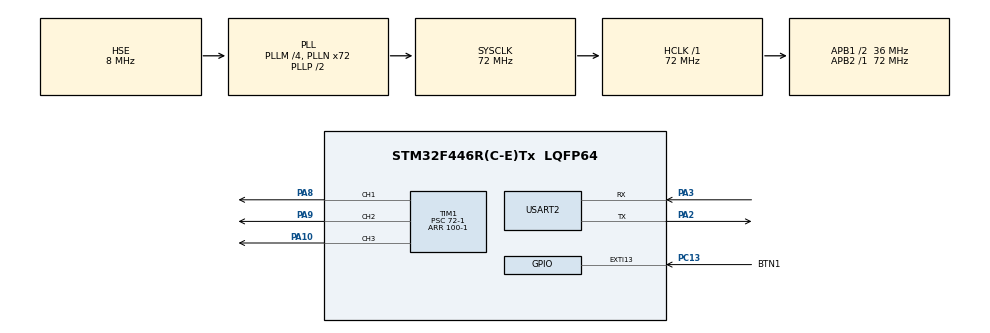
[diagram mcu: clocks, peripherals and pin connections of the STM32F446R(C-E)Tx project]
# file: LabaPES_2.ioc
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Mcu.Family=STM32F4
Mcu.Name=STM32F446R(C-E)Tx
Mcu.Package=LQFP64
NVIC.EXTI15_10_IRQn=true\:0\:0\:false\:false\:true\:true\:true
NVIC.PriorityGroup=NVIC_PRIORITYGROUP_0
NVIC.TIM2_IRQn=true\:0\:0\:false\:false\:true\:true\:true
NVIC.USART2_IRQn=true\:0\:0\:false\:false\:true\:true\:true
PA10.Signal=S_TIM1_CH3
PA2.Mode=Asynchronous
PA2.Signal=USART2_TX
PA3.Mode=Asynchronous
PA3.Signal=USART2_RX
PA8.Signal=S_TIM1_CH1
PA9.Signal=S_TIM1_CH2
PC13.GPIO_Label=BTN1
PC13.GPIO_PuPd=GPIO_PULLDOWN
PC13.Signal=GPXTI13
PH0-OSC_IN.Mode=HSE-External-Oscillator
PH0-OSC_IN.Signal=RCC_OSC_IN
PH1-OSC_OUT.Mode=HSE-External-Oscillator
PH1-OSC_OUT.Signal=RCC_OSC_OUT
ProjectManager.HeapSize=0x200
ProjectManager.StackSize=0x400
ProjectManager.TargetToolchain=STM32CubeIDE
RCC.48MHZClocksFreq_Value=84000000
RCC.AHBFreq_Value=72000000
RCC.APB1CLKDivider=RCC_HCLK_DIV2
RCC.APB1Freq_Value=36000000
RCC.APB1TimFreq_Value=72000000
RCC.APB2Freq_Value=72000000
RCC.APB2TimFreq_Value=72000000
RCC.CortexFreq_Value=72000000
RCC.FLatency-AdvancedSettings=FLASH_LATENCY_2
RCC.HCLKFreq_Value=72000000
RCC.HSE_VALUE=8000000
RCC.HSI_VALUE=16000000
RCC.PLLM=4
RCC.PLLN=72
RCC.PLLSourceVirtual=RCC_PLLSOURCE_HSE
RCC.SYSCLKFreq_VALUE=72000000
RCC.SYSCLKSource=RCC_SYSCLKSOURCE_PLLCLK
RCC.USBFreq_Value=72000000
RCC.VCOOutputFreq_Value=144000000
SH.S_TIM1_CH1.0=TIM1_CH1,PWM Generation1 CH1
SH.S_TIM1_CH2.0=TIM1_CH2,PWM Generation2 CH2
SH.S_TIM1_CH3.0=TIM1_CH3,PWM Generation3 CH3
TIM1.Channel-PWM\ Generation1\ CH1=TIM_CHANNEL_1
TIM1.Channel-PWM\ Generation2\ CH2=TIM_CHANNEL_2
TIM1.Channel-PWM\ Generation3\ CH3=TIM_CHANNEL_3
TIM1.Period=100-1
TIM1.Prescaler=72-1
TIM2.Period=10-1
TIM2.Prescaler=7200-1
USART2.VirtualMode=VM_ASYNC
VP_TIM2_VS_ClockSourceINT.Mode=Internal
board=NUCLEO-F446RE

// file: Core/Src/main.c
/* USER CODE BEGIN Header */
/**
  ******************************************************************************
  * @file           : main.c
  * @brief          : Main program body
  ******************************************************************************
  * @attention
  *
  * <h2><center>&copy; Copyright (c) 2022 STMicroelectronics.
  * All rights reserved.</center></h2>
  *
  * This software component is licensed by ST under BSD 3-Clause license,
  * the "License"; You may not use this file except in compliance with the
  * License. You may obtain a copy of the License at:
  *                        opensource.org/licenses/BSD-3-Clause
  *
  ******************************************************************************
  */
/* USER CODE END Header */
#include "main.h"

/* USER CODE BEGIN Includes */
#include <stdio.h>
#include <string.h>
#include "ring_buffer.h"
#include "Ptimer.h"
/* USER CODE END Includes */

/* USER CODE BEGIN PD */
#define BUFF_SIZE 16
/* USER CODE END PD */

TIM_HandleTypeDef htim1;
TIM_HandleTypeDef htim2;

UART_HandleTypeDef huart2;

/* USER CODE BEGIN PV */
uint8_t flag_err = 0;
uint8_t flag_btn = 0;
char str[3] = {0,};
RING_buffer_t ring;
uint8_t buff[BUFF_SIZE];
uint8_t brightness = 50;
volatile uint32_t time_irq = 0;
volatile uint8_t flag_irq = 0;
/* USER CODE END PV */

void SystemClock_Config(void);
static void MX_GPIO_Init(void);
static void MX_USART2_UART_Init(void);
static void MX_TIM1_Init(void);
static void MX_TIM2_Init(void);
/* USER CODE BEGIN PFP */
uint8_t Command_read(char str);
/* USER CODE END PFP */

int main(void)
{
  /* USER CODE BEGIN 1 */
	uint8_t tstring[255];
	uint8_t rstring[BUFF_SIZE + 1];
	char string[10] = {0,0};
  /* USER CODE END 1 */

  /* MCU Configuration--------------------------------------------------------*/

  /* Reset of all peripherals, Initializes the Flash interface and the Systick. */
  HAL_Init();

  /* Configure the system clock */
  SystemClock_Config();

  /* Initialize all configured peripherals */
  MX_GPIO_Init();
  MX_USART2_UART_Init();
  MX_TIM1_Init();
  MX_TIM2_Init();
  /* USER CODE BEGIN 2 */
  RING_Init(&ring, buff, sizeof(buff) / sizeof(buff[0])); // Initialize UART receiver ring buffer.
  sprintf((char*)tstring,"\r\nEnter command:\n\r"
  		  "L=xx -- brightness for LEDs, where xx - value of brightness\n\r"
  		  "OR\n\r"
  		  "l=xx -- brightness for LEDs, where xx - value of brightness.\n\r\n\r");
  HAL_UART_Transmit(&huart2,tstring,strlen((char*)tstring), HAL_MAX_DELAY);
  // Start UART receiver in the non blocking mode
  HAL_UART_Receive_IT(&huart2,ring.buffer,1);
  TIM1->CCR1 = brightness;
  TIM1->CCR2 = brightness;
  TIM1->CCR3 = brightness;
  HAL_TIM_PWM_Start(&htim1, TIM_CHANNEL_1);
  HAL_TIM_PWM_Start(&htim1, TIM_CHANNEL_2);
  HAL_TIM_PWM_Start(&htim1, TIM_CHANNEL_3);
  InitPTimer();
  HAL_TIM_Base_Start_IT(&htim2);
  /* USER CODE END 2 */

  /* Infinite loop */
  /* USER CODE BEGIN WHILE */
  while (1)
  {
	    switch(flag_btn)
		{
			case 0:
				TIM1->CCR1 = 0;
				TIM1->CCR2 = 0;
				TIM1->CCR3 = 0;
				break;
			case 1:
				TIM1->CCR1 = 0;
				TIM1->CCR2 = 0;
				TIM1->CCR3 = brightness;
				break;
			case 2:
				TIM1->CCR1 = 0;
				TIM1->CCR2 = brightness;
				TIM1->CCR3 = 0;
				break;
			case 3:
				TIM1->CCR1 = 0;
				TIM1->CCR2 = brightness;
				TIM1->CCR3 = brightness;
				break;
			case 4:
				TIM1->CCR1 = brightness;
				TIM1->CCR2 = 0;
				TIM1->CCR3 = 0;
				break;
			case 5:
				TIM1->CCR1 = brightness;
				TIM1->CCR2 = 0;
				TIM1->CCR3 = brightness;
				break;
			case 6:
				TIM1->CCR1 = brightness;
				TIM1->CCR2 = brightness;
				TIM1->CCR3 = 0;
				break;
			case 7:
				TIM1->CCR1 = brightness;
				TIM1->CCR2 = brightness;
				TIM1->CCR3 = brightness;
				break;
		}

		if(ptimerFlags.timer == (1<<3))
		{
			__HAL_GPIO_EXTI_CLEAR_IT(BTN1_Pin);
			NVIC_ClearPendingIRQ(EXTI15_10_IRQn);
			HAL_NVIC_EnableIRQ(EXTI15_10_IRQn);
			ptimerFlags.timer &= ~(1<<3);
			//flag_irq = 0;
			flag_btn++;
			if (flag_btn > 7) flag_btn = 0;
		}
		if (Ring_GetMessage(&ring, rstring))
		{
			uint8_t buf, buf_;
			sscanf((char*)rstring,"%s", string);
			buf = Command_read(string[0]);
			switch(buf)
			{
			case 11:
				buf = Command_read(string[1]);
				switch(buf)
				{
				case 10:
					for (int i = 0; i < 3; i++)
					{
						str[i] = string[i+2];
					}
					if (str[1] == '\r' || str[1] == '\n' || str[1] == '\0')
					{
						buf = Command_read(str[0]);
						if ((buf != 12) && (buf != 11) && (buf != 10))
						{
							brightness = buf; flag_err = 1;
						}
						else
						{
							flag_err = 2; break;
						}
					}
					else if (str[2] == '\r' || str[2] == '\n' || str[2] == '\0')
					{
						buf = Command_read(str[0]);
						buf_ = buf;
						buf = Command_read(str[1]);
						if ((buf != 12) && (buf != 11) && (buf != 10) && (buf_ != 11) && (buf_ != 12) && (buf_ != 10))
						{
							brightness = (buf_ * 10) + buf; flag_err = 1;
						}
						else
						{
							flag_err = 2; break;
						}
					}
					break;
				case 12: flag_err = 2; break;
				}
				break;
			case 12: flag_err = 2; break;
			}
			RING_Clear(&ring);
			switch(flag_err)
			{
			case 1:
				sprintf((char*)tstring,"\n\rEcho: %s\n\r"
							  "Enter command 'L=xx' or 'l=xx'\r\n",string);
				break;
			case 2:
				sprintf((char*)tstring,"\n\rEcho: Wrong command!!!\r\n"
							  "Enter command 'L=xx' or 'l=xx'\r\n");
				break;
			}
			HAL_UART_Transmit_IT(&huart2,tstring,strlen((char*)tstring));
			flag_err = 0;
		}
    /* USER CODE END WHILE */

  }
}

void SystemClock_Config(void)
{
  RCC_OscInitTypeDef RCC_OscInitStruct = {0};
  RCC_ClkInitTypeDef RCC_ClkInitStruct = {0};

  /** Configure the main internal regulator output voltage
  */
  __HAL_RCC_PWR_CLK_ENABLE();
  __HAL_PWR_VOLTAGESCALING_CONFIG(PWR_REGULATOR_VOLTAGE_SCALE3);
  /** Initializes the RCC Oscillators according to the specified parameters
  * in the RCC_OscInitTypeDef structure.
  */
  RCC_OscInitStruct.OscillatorType = RCC_OSCILLATORTYPE_HSE;
  RCC_OscInitStruct.HSEState = RCC_HSE_ON;
  RCC_OscInitStruct.PLL.PLLState = RCC_PLL_ON;
  RCC_OscInitStruct.PLL.PLLSource = RCC_PLLSOURCE_HSE;
  RCC_OscInitStruct.PLL.PLLM = 4;
  RCC_OscInitStruct.PLL.PLLN = 72;
  RCC_OscInitStruct.PLL.PLLP = RCC_PLLP_DIV2;
  RCC_OscInitStruct.PLL.PLLQ = 2;
  RCC_OscInitStruct.PLL.PLLR = 2;
  if (HAL_RCC_OscConfig(&RCC_OscInitStruct) != HAL_OK)
  {
    Error_Handler();
  }
  /** Initializes the CPU, AHB and APB buses clocks
  */
  RCC_ClkInitStruct.ClockType = RCC_CLOCKTYPE_HCLK|RCC_CLOCKTYPE_SYSCLK
                              |RCC_CLOCKTYPE_PCLK1|RCC_CLOCKTYPE_PCLK2;
  RCC_ClkInitStruct.SYSCLKSource = RCC_SYSCLKSOURCE_PLLCLK;
  RCC_ClkInitStruct.AHBCLKDivider = RCC_SYSCLK_DIV1;
  RCC_ClkInitStruct.APB1CLKDivider = RCC_HCLK_DIV2;
  RCC_ClkInitStruct.APB2CLKDivider = RCC_HCLK_DIV1;

  if (HAL_RCC_ClockConfig(&RCC_ClkInitStruct, FLASH_LATENCY_2) != HAL_OK)
  {
    Error_Handler();
  }
}

static void MX_TIM1_Init(void)
{

  TIM_MasterConfigTypeDef sMasterConfig = {0};
  TIM_OC_InitTypeDef sConfigOC = {0};
  TIM_BreakDeadTimeConfigTypeDef sBreakDeadTimeConfig = {0};

  htim1.Instance = TIM1;
  htim1.Init.Prescaler = 72-1;
  htim1.Init.CounterMode = TIM_COUNTERMODE_UP;
  htim1.Init.Period = 100-1;
  htim1.Init.ClockDivision = TIM_CLOCKDIVISION_DIV1;
  htim1.Init.RepetitionCounter = 0;
  htim1.Init.AutoReloadPreload = TIM_AUTORELOAD_PRELOAD_DISABLE;
  if (HAL_TIM_PWM_Init(&htim1) != HAL_OK)
  {
    Error_Handler();
  }
  sMasterConfig.MasterOutputTrigger = TIM_TRGO_RESET;
  sMasterConfig.MasterSlaveMode = TIM_MASTERSLAVEMODE_DISABLE;
  if (HAL_TIMEx_MasterConfigSynchronization(&htim1, &sMasterConfig) != HAL_OK)
  {
    Error_Handler();
  }
  sConfigOC.OCMode = TIM_OCMODE_PWM1;
  sConfigOC.Pulse = 0;
  sConfigOC.OCPolarity = TIM_OCPOLARITY_HIGH;
  sConfigOC.OCNPolarity = TIM_OCNPOLARITY_HIGH;
  sConfigOC.OCFastMode = TIM_OCFAST_DISABLE;
  sConfigOC.OCIdleState = TIM_OCIDLESTATE_RESET;
  sConfigOC.OCNIdleState = TIM_OCNIDLESTATE_RESET;
  if (HAL_TIM_PWM_ConfigChannel(&htim1, &sConfigOC, TIM_CHANNEL_1) != HAL_OK)
  {
    Error_Handler();
  }
  if (HAL_TIM_PWM_ConfigChannel(&htim1, &sConfigOC, TIM_CHANNEL_2) != HAL_OK)
  {
    Error_Handler();
  }
  if (HAL_TIM_PWM_ConfigChannel(&htim1, &sConfigOC, TIM_CHANNEL_3) != HAL_OK)
  {
    Error_Handler();
  }
  sBreakDeadTimeConfig.OffStateRunMode = TIM_OSSR_DISABLE;
  sBreakDeadTimeConfig.OffStateIDLEMode = TIM_OSSI_DISABLE;
  sBreakDeadTimeConfig.LockLevel = TIM_LOCKLEVEL_OFF;
  sBreakDeadTimeConfig.DeadTime = 0;
  sBreakDeadTimeConfig.BreakState = TIM_BREAK_DISABLE;
  sBreakDeadTimeConfig.BreakPolarity = TIM_BREAKPOLARITY_HIGH;
  sBreakDeadTimeConfig.AutomaticOutput = TIM_AUTOMATICOUTPUT_DISABLE;
  if (HAL_TIMEx_ConfigBreakDeadTime(&htim1, &sBreakDeadTimeConfig) != HAL_OK)
  {
    Error_Handler();
  }
  HAL_TIM_MspPostInit(&htim1);

}

static void MX_TIM2_Init(void)
{

  TIM_ClockConfigTypeDef sClockSourceConfig = {0};
  TIM_MasterConfigTypeDef sMasterConfig = {0};

  htim2.Instance = TIM2;
  htim2.Init.Prescaler = 7200-1;
  htim2.Init.CounterMode = TIM_COUNTERMODE_UP;
  htim2.Init.Period = 10-1;
  htim2.Init.ClockDivision = TIM_CLOCKDIVISION_DIV1;
  htim2.Init.AutoReloadPreload = TIM_AUTORELOAD_PRELOAD_DISABLE;
  if (HAL_TIM_Base_Init(&htim2) != HAL_OK)
  {
    Error_Handler();
  }
  sClockSourceConfig.ClockSource = TIM_CLOCKSOURCE_INTERNAL;
  if (HAL_TIM_ConfigClockSource(&htim2, &sClockSourceConfig) != HAL_OK)
  {
    Error_Handler();
  }
  sMasterConfig.MasterOutputTrigger = TIM_TRGO_RESET;
  sMasterConfig.MasterSlaveMode = TIM_MASTERSLAVEMODE_DISABLE;
  if (HAL_TIMEx_MasterConfigSynchronization(&htim2, &sMasterConfig) != HAL_OK)
  {
    Error_Handler();
  }

}

static void MX_USART2_UART_Init(void)
{

  huart2.Instance = USART2;
  huart2.Init.BaudRate = 115200;
  huart2.Init.WordLength = UART_WORDLENGTH_8B;
  huart2.Init.StopBits = UART_STOPBITS_1;
  huart2.Init.Parity = UART_PARITY_NONE;
  huart2.Init.Mode = UART_MODE_TX_RX;
  huart2.Init.HwFlowCtl = UART_HWCONTROL_NONE;
  huart2.Init.OverSampling = UART_OVERSAMPLING_16;
  if (HAL_UART_Init(&huart2) != HAL_OK)
  {
    Error_Handler();
  }

}

static void MX_GPIO_Init(void)
{
  GPIO_InitTypeDef GPIO_InitStruct = {0};

  /* GPIO Ports Clock Enable */
  __HAL_RCC_GPIOC_CLK_ENABLE();
  __HAL_RCC_GPIOH_CLK_ENABLE();
  __HAL_RCC_GPIOA_CLK_ENABLE();

  /*Configure GPIO pin : BTN1_Pin */
  GPIO_InitStruct.Pin = BTN1_Pin;
  GPIO_InitStruct.Mode = GPIO_MODE_IT_RISING;
  GPIO_InitStruct.Pull = GPIO_PULLDOWN;
  HAL_GPIO_Init(BTN1_GPIO_Port, &GPIO_InitStruct);

  /* EXTI interrupt init*/
  HAL_NVIC_SetPriority(EXTI15_10_IRQn, 0, 0);
  HAL_NVIC_EnableIRQ(EXTI15_10_IRQn);

}

/* USER CODE BEGIN 4 */
void HAL_UART_RxCpltCallback(UART_HandleTypeDef *huart)
{
	// Check that interrupt caused by UART2
	if (huart == &huart2)
	{
		// Put new character from the UART receiver data register (DR) to the ring buffer
		RING_Put(huart->Instance->DR, &ring);
		// Set the overrun flag if the message is longer than ring buffer can hold
		if (ring.idxOut == ring.idxIn) ring.flag.BufferOverrun = 1;
		// Set the message ready flag if the end of line character has been received
		if ((ring.buffer[ring.idxOut -1] == '\r') || (ring.buffer[ring.idxOut -1] == '\n'))
			ring.flag.MessageReady = 1;
		// Receive the next character from UART in non blocking mode
		HAL_UART_Receive_IT(&huart2,&ring.buffer[ring.idxOut],1);
	}
}
void HAL_GPIO_EXTI_Callback(uint16_t GPIO_Pin)
{
	if (GPIO_Pin == BTN1_Pin)
	{
		HAL_NVIC_DisableIRQ(EXTI15_10_IRQn);
		//flag_irq = 1;
		//time_irq = HAL_GetTick();
		SetPTimer(3, 200);
		/*flag_btn++;
		if (flag_btn > 7) flag_btn = 0;
		__HAL_GPIO_EXTI_CLEAR_IT(BTN1_Pin);
		NVIC_ClearPendingIRQ(EXTI15_10_IRQn);
		HAL_NVIC_EnableIRQ(EXTI15_10_IRQn);*/
	}
}

void HAL_TIM_PeriodElapsedCallback(TIM_HandleTypeDef *htim)
{
	if (htim == &htim2)
	{
		PTimer();
	}
}

uint8_t Command_read(char str)
{
	uint8_t ret = 12;
	switch(str)
	{
		case 'L':	ret = 11; break;
		case 'l':	ret = 11; break;
		case '=':	ret = 10; break;
		case '0':	ret = 0; break;
		case '1':	ret = 1; break;
		case '2':	ret = 2; break;
		case '3':	ret = 3; break;
		case '4':	ret = 4; break;
		case '5':	ret = 5; break;
		case '6':	ret = 6; break;
		case '7':	ret = 7; break;
		case '8':	ret = 8; break;
		case '9':	ret = 9; break;
	}
	return ret;
}
/* USER CODE END 4 */

void Error_Handler(void)
{
  __disable_irq();
  while (1)
  {
  }
}
